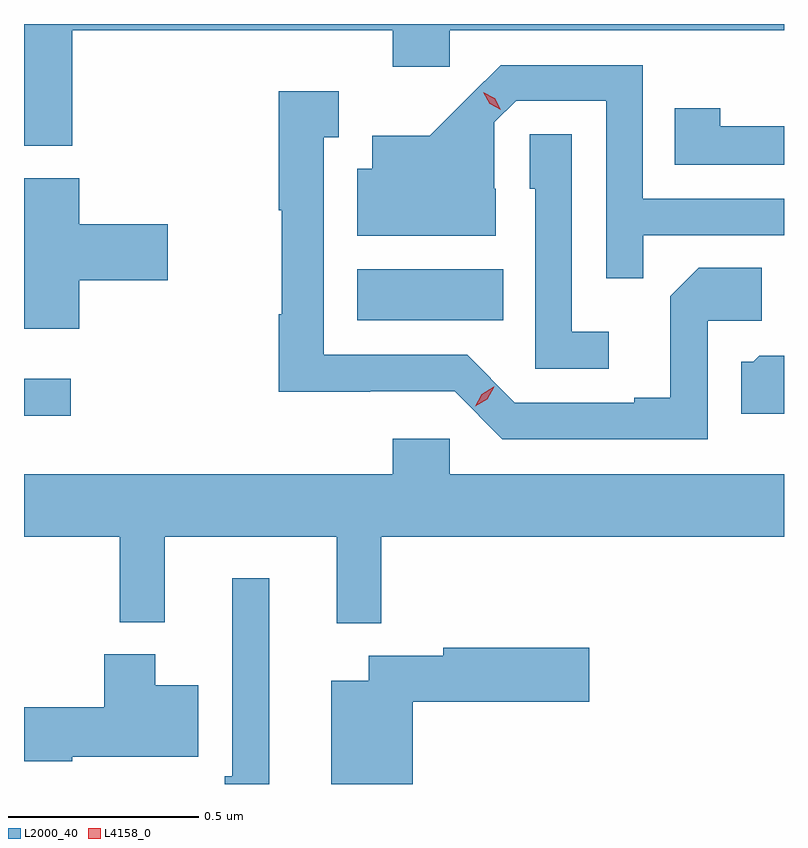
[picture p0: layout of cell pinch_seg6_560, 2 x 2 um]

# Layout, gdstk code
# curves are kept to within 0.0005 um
import gdstk
lib = gdstk.Library(unit=1e-6, precision=1e-09)
def R(c, l, rs):  # rectangles x0, y0, x1, y1
    for r in rs: c.add(gdstk.rectangle(r[:2], r[2:], *l))
def P(c, l, *ps):  # polygons
    for p in ps: c.add(gdstk.Polygon(p, *l))
L2000_40 = (2000, 40)
L4158_0 = (4158, 0)

pinch_seg6_560 = lib.new_cell('pinch_seg6_560')
R(pinch_seg6_560, L2000_40, [(796.945,921.014,797.068,921.112), (797.822,921.266,798.206,921.4)])
P(pinch_seg6_560, L2000_40, [(797.072,922.028),(797.915,922.028),(797.915,921.933),(798.066,921.933),(798.066,922.028),(798.945,922.028),(798.945,922.045),(796.945,922.045),(796.945,921.724),(797.072,921.724)],
  [(798.575,921.489),(798.945,921.489),(798.945,921.585),(798.573,921.585),(798.573,921.936),(798.2,921.936),(798.013,921.751),(797.861,921.751),(797.861,921.664),(797.822,921.664),(797.822,921.488),(798.187,921.488),(798.187,921.612),(798.183,921.612),(798.183,921.786),(798.24,921.843),(798.477,921.843),(798.477,921.376),(798.575,921.376)],
  [(798.744,921.264),(798.886,921.264),(798.886,921.404),(798.721,921.404),(798.645,921.328),(798.645,921.061),(798.551,921.061),(798.551,921.048),(798.237,921.048),(798.111,921.174),(797.734,921.174),(797.734,921.747),(797.773,921.747),(797.773,921.868),(797.616,921.868),(797.616,921.555),(797.623,921.555),(797.623,921.281),(797.616,921.281),(797.616,921.077),(797.856,921.077),(797.856,921.078),(798.078,921.078),(798.204,920.952),(798.744,920.952)],
  [(798.945,921.776),(798.777,921.776),(798.777,921.823),(798.658,921.823),(798.658,921.675),(798.945,921.675)],
  [(798.484,921.235),(798.387,921.235),(798.387,921.755),(798.276,921.755),(798.276,921.612),(798.291,921.612),(798.291,921.138),(798.484,921.138)],
  [(797.09,921.371),(797.323,921.371),(797.323,921.518),(797.09,921.518),(797.09,921.639),(796.945,921.639),(796.945,921.243),(797.09,921.243)],
  [(798.945,921.172),(798.88,921.172),(798.864,921.156),(798.833,921.156),(798.833,921.02),(798.945,921.02)],
  [(796.945,920.696),(797.197,920.696),(797.197,920.471),(797.315,920.471),(797.315,920.696),(797.768,920.696),(797.768,920.468),(797.885,920.468),(797.885,920.696),(798.945,920.696),(798.945,920.86),(798.066,920.86),(798.066,920.953),(797.915,920.953),(797.915,920.86),(796.945,920.86)],
  [(797.59,920.587),(797.493,920.587),(797.493,920.065),(797.473,920.065),(797.473,920.045),(797.59,920.045)],
  [(797.968,920.261),(798.433,920.261),(798.433,920.403),(798.048,920.403),(798.048,920.383),(797.852,920.383),(797.852,920.317),(797.753,920.317),(797.753,920.045),(797.968,920.045)],
  [(797.072,920.117),(797.404,920.117),(797.404,920.305),(797.29,920.305),(797.29,920.386),(797.156,920.386),(797.156,920.247),(796.945,920.247),(796.945,920.105),(797.072,920.105)])
P(pinch_seg6_560, L4158_0, [(798.2,921.819),(798.17,921.835),(798.153,921.865),(798.153,921.866),(798.153,921.866),(798.184,921.85),(798.2,921.82),(798.2,921.819)],
  [(798.132,921.039),(798.132,921.039),(798.15,921.071),(798.181,921.09),(798.182,921.09),(798.182,921.09),(798.164,921.057),(798.132,921.039)])

lib.write_gds('pinch_seg6_560.gds')
